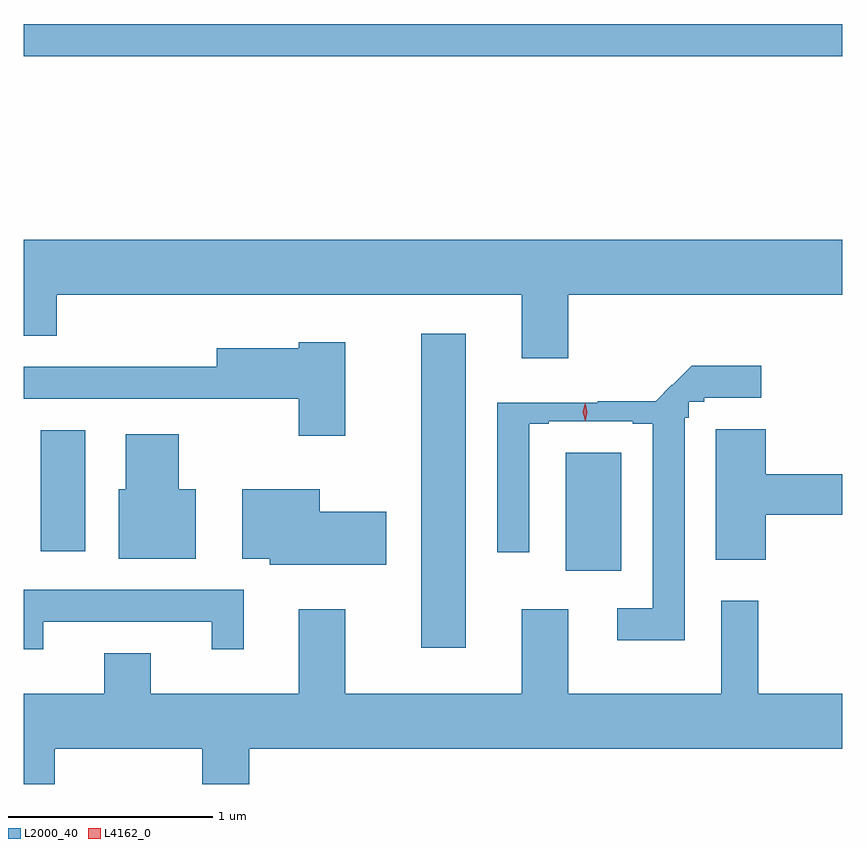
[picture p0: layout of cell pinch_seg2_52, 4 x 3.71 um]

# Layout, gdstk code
import gdstk
lib = gdstk.Library(unit=1e-6, precision=1e-09)
def R(c, l, rs):  # rectangles x0, y0, x1, y1
    for r in rs: c.add(gdstk.rectangle(r[:2], r[2:], *l))
def P(c, l, *ps):  # polygons
    for p in ps: c.add(gdstk.Polygon(p, *l))
L2000_40 = (2000, 40)
L4162_0 = (4162, 0)

pinch_seg2_52 = lib.new_cell('pinch_seg2_52')
R(pinch_seg2_52, L2000_40, [(1118.096,1095.431,1118.314,1096.964), (1118.801,1095.806,1119.074,1096.384), (1116.236,1095.901,1116.454,1096.494), (1116.153,1098.321,1120.153,1098.479)])
P(pinch_seg2_52, L2000_40, [(1118.814,1097.156),(1120.153,1097.156),(1120.153,1097.424),(1116.153,1097.424),(1116.153,1096.956),(1116.314,1096.956),(1116.314,1097.156),(1118.586,1097.156),(1118.586,1096.846),(1118.814,1096.846)],
  [(1117.724,1096.924),(1117.496,1096.924),(1117.496,1096.894),(1117.096,1096.894),(1117.096,1096.804),(1116.153,1096.804),(1116.153,1096.646),(1117.496,1096.646),(1117.496,1096.466),(1117.724,1096.466)],
  [(1119.384,1096.555),(1119.403,1096.555),(1119.403,1096.633),(1119.48,1096.633),(1119.48,1096.651),(1119.758,1096.651),(1119.758,1096.809),(1119.418,1096.809),(1119.322,1096.713),(1119.32,1096.715),(1119.241,1096.636),(1118.958,1096.636),(1118.958,1096.627),(1118.466,1096.627),(1118.466,1095.898),(1118.624,1095.898),(1118.624,1096.525),(1118.72,1096.525),(1118.72,1096.537),(1119.13,1096.537),(1119.13,1096.525),(1119.226,1096.525),(1119.226,1095.624),(1119.053,1095.624),(1119.053,1095.466),(1119.384,1095.466)],
  [(1119.779,1096.081),(1120.153,1096.081),(1120.153,1096.279),(1119.779,1096.279),(1119.779,1096.499),(1119.536,1096.499),(1119.536,1095.861),(1119.779,1095.861)],
  [(1116.994,1096.204),(1116.909,1096.204),(1116.909,1096.474),(1116.651,1096.474),(1116.651,1096.204),(1116.616,1096.204),(1116.616,1095.866),(1116.994,1095.866)],
  [(1117.924,1096.094),(1117.599,1096.094),(1117.599,1096.204),(1117.221,1096.204),(1117.221,1095.866),(1117.356,1095.866),(1117.356,1095.836),(1117.924,1095.836)],
  [(1116.249,1095.556),(1117.071,1095.556),(1117.071,1095.423),(1117.229,1095.423),(1117.229,1095.714),(1116.153,1095.714),(1116.153,1095.423),(1116.249,1095.423)],
  [(1116.304,1094.936),(1117.026,1094.936),(1117.026,1094.764),(1117.254,1094.764),(1117.254,1094.936),(1120.153,1094.936),(1120.153,1095.204),(1119.744,1095.204),(1119.744,1095.659),(1119.561,1095.659),(1119.561,1095.204),(1118.814,1095.204),(1118.814,1095.619),(1118.586,1095.619),(1118.586,1095.204),(1117.724,1095.204),(1117.724,1095.619),(1117.496,1095.619),(1117.496,1095.204),(1116.774,1095.204),(1116.774,1095.404),(1116.546,1095.404),(1116.546,1095.204),(1116.153,1095.204),(1116.153,1094.764),(1116.304,1094.764)])
P(pinch_seg2_52, L4162_0, [(1118.897,1096.537),(1118.896,1096.538),(1118.887,1096.582),(1118.896,1096.626),(1118.897,1096.627),(1118.898,1096.626),(1118.907,1096.582),(1118.898,1096.538)],
  [(1118.896,1096.544),(1118.896,1096.545),(1118.886,1096.582),(1118.894,1096.62),(1118.894,1096.621),(1118.895,1096.62),(1118.906,1096.583),(1118.897,1096.545)])

lib.write_gds('pinch_seg2_52.gds')
